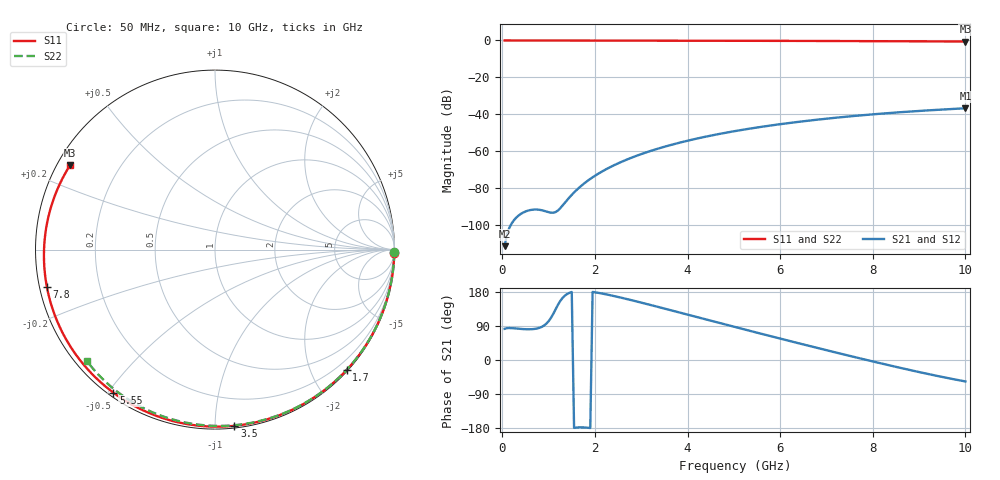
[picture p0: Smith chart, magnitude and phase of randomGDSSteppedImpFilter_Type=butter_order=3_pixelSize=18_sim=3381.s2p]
! freq	dB(S11)	phase(S11)	dB(S12)	phase(S12)
!  dB(S21)	phase(S21)	dB(S22)	phase(S22)
!S-par simulation data
#  GHz  S  DB  R 50
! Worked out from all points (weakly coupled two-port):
!   200 points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, 50 MHz to 10 GHz, reference 50 ohm
!   highest |S21| = -36.81 dB at 10 GHz (marker M1); lowest = -111.6 dB at 50 MHz (marker M2)
!   lowest |S11| = -0.6 dB at 10 GHz (marker M3), VSWR 29.51, Z = 1.82 + j13.5 ohm
!   |S11| at or under -10 dB: nowhere
!   |S22| runs from -0.5 to 0.0 dB; largest |S21 - S12| = 0
!   S11 on the Smith chart (normalised r, x): 50 MHz: 3, -93; 1.7 GHz: 0.02, -2.57; 3.5 GHz: 0.01, -1.12; 5.55 GHz: 0.01, -0.52; 7.8 GHz: 0.02, -0.11; 10 GHz: 0.04, +0.27
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0.05  -0.01 -1.2  -111.64 82.3  -111.64 82.3  -0.00 -0.8
0.45  -0.02 -11.4  -93.40 81.6  -93.40 81.6  -0.01 -7.2
0.85  -0.03 -21.5  -92.12 87.3  -92.12 87.3  -0.02 -13.5
1.25  -0.04 -31.5  -91.08 155.5  -91.08 155.5  -0.02 -19.8
1.65  -0.05 -41.3  -80.09 -177.8  -80.09 -177.8  -0.03 -26.1
1.7  -0.05 -42.5  -78.99 -177.7  -78.99 -177.7  -0.03 -26.9
1.75  -0.05 -43.7  -77.95 -177.9  -77.95 -177.9  -0.04 -27.6
2.05  -0.06 -50.9  -72.66 177.7  -72.66 177.7  -0.04 -32.3
2.45  -0.08 -60.2  -67.28 167.8  -67.28 167.8  -0.05 -38.4
2.9  -0.09 -70.5  -62.58 154.5  -62.58 154.5  -0.06 -45.2
3.4  -0.10 -81.6  -58.42 139.0  -58.42 139.0  -0.07 -52.6
3.5  -0.11 -83.7  -57.69 135.8  -57.69 135.8  -0.07 -54.0
4.25  -0.14 -99.5  -52.98 111.8  -52.98 111.8  -0.09 -64.9
5.05  -0.17 -115.6  -49.07 86.3  -49.07 86.3  -0.12 -76.0
5.55  -0.20 -125.3  -47.05 70.5  -47.05 70.5  -0.14 -82.8
6.15  -0.23 -136.8  -44.95 51.9  -44.95 51.9  -0.16 -90.8
6.7  -0.27 -147.1  -43.27 35.0  -43.27 35.0  -0.19 -97.9
7.25  -0.31 -157.3  -41.81 18.3  -41.81 18.3  -0.22 -104.9
7.8  -0.36 -167.5  -40.52 2.0  -40.52 2.0  -0.26 -111.8
8.35  -0.41 -177.9  -39.40 -13.9  -39.40 -13.9  -0.30 -118.6
9.2  -0.50 165.8  -37.94 -37.1  -37.94 -37.1  -0.38 -129.0
10  -0.59 149.7  -36.81 -56.6  -36.81 -56.6  -0.48 -138.8
